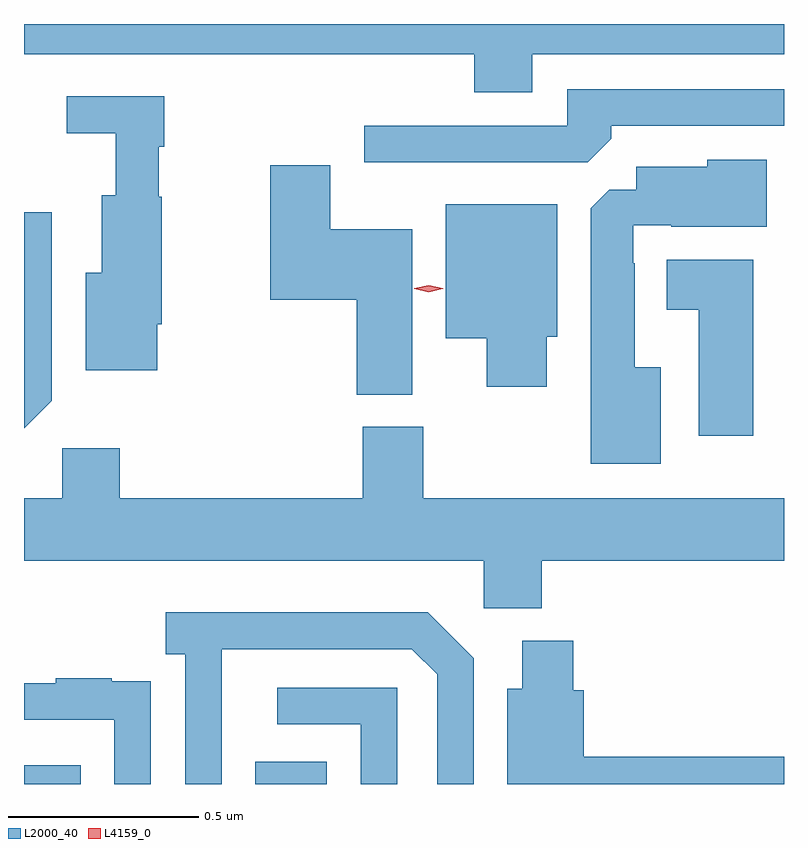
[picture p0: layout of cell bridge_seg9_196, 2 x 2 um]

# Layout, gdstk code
import gdstk
lib = gdstk.Library(unit=1e-6, precision=1e-09)
def R(c, l, rs):  # rectangles x0, y0, x1, y1
    for r in rs: c.add(gdstk.rectangle(r[:2], r[2:], *l))
def P(c, l, *ps):  # polygons
    for p in ps: c.add(gdstk.Polygon(p, *l))
L2000_40 = (2000, 40)
L4159_0 = (4159, 0)

bridge_seg9_196 = lib.new_cell('bridge_seg9_196')
R(bridge_seg9_196, L2000_40, [(174.464,1211.816,174.613,1211.866), (175.073,1211.816,175.261,1211.875)])
P(bridge_seg9_196, L2000_40, [(174.464,1213.736),(175.649,1213.736),(175.649,1213.637),(175.801,1213.637),(175.801,1213.736),(176.464,1213.736),(176.464,1213.816),(174.464,1213.816)],
  [(176.009,1213.514),(176.009,1213.548),(176.464,1213.548),(176.464,1213.644),(175.893,1213.644),(175.893,1213.548),(175.359,1213.548),(175.359,1213.452),(175.947,1213.452)],
  [(174.814,1213.026),(174.826,1213.026),(174.826,1213.362),(174.818,1213.362),(174.818,1213.493),(174.833,1213.493),(174.833,1213.626),(174.576,1213.626),(174.576,1213.529),(174.705,1213.529),(174.705,1213.366),(174.668,1213.366),(174.668,1213.162),(174.626,1213.162),(174.626,1212.905),(174.814,1212.905)],
  [(176.14,1212.913),(176.071,1212.913),(176.071,1213.187),(176.067,1213.187),(176.067,1213.287),(176.167,1213.287),(176.167,1213.283),(176.419,1213.283),(176.419,1213.459),(176.262,1213.459),(176.262,1213.441),(176.075,1213.441),(176.075,1213.38),(176.004,1213.38),(175.955,1213.331),(175.955,1212.659),(176.14,1212.659)],
  [(175.486,1213.276),(175.27,1213.276),(175.27,1213.444),(175.112,1213.444),(175.112,1213.091),(175.34,1213.091),(175.34,1212.841),(175.486,1212.841)],
  [(175.84,1212.993),(175.867,1212.993),(175.867,1213.342),(175.574,1213.342),(175.574,1212.989),(175.682,1212.989),(175.682,1212.861),(175.84,1212.861)],
  [(174.537,1212.825),(174.537,1213.321),(174.464,1213.321),(174.464,1212.752)],
  [(176.383,1213.195),(176.156,1213.195),(176.156,1213.064),(176.24,1213.064),(176.24,1212.732),(176.383,1212.732)],
  [(175.826,1212.404),(176.464,1212.404),(176.464,1212.568),(175.515,1212.568),(175.515,1212.756),(175.355,1212.756),(175.355,1212.568),(174.716,1212.568),(174.716,1212.7),(174.564,1212.7),(174.564,1212.568),(174.464,1212.568),(174.464,1212.404),(175.674,1212.404),(175.674,1212.278),(175.826,1212.278)],
  [(174.984,1211.971),(174.985,1211.971),(174.985,1212.171),(175.485,1212.171),(175.551,1212.105),(175.551,1211.816),(175.647,1211.816),(175.647,1212.147),(175.526,1212.268),(174.837,1212.268),(174.837,1212.158),(174.888,1212.158),(174.888,1211.816),(174.984,1211.816)],
  [(176.464,1211.888),(175.937,1211.888),(175.937,1212.063),(175.91,1212.063),(175.91,1212.193),(175.775,1212.193),(175.775,1212.067),(175.736,1212.067),(175.736,1211.816),(176.464,1211.816)],
  [(174.798,1211.978),(174.797,1211.978),(174.797,1212.087),(174.695,1212.087),(174.695,1212.094),(174.547,1212.094),(174.547,1212.081),(174.464,1212.081),(174.464,1211.985),(174.702,1211.985),(174.702,1211.816),(174.798,1211.816)],
  [(175.446,1212.069),(175.131,1212.069),(175.131,1211.973),(175.35,1211.973),(175.35,1211.816),(175.446,1211.816)])
P(bridge_seg9_196, L4159_0, [(175.529,1213.11),(175.491,1213.119),(175.491,1213.119),(175.491,1213.12),(175.529,1213.129),(175.566,1213.12),(175.567,1213.119),(175.566,1213.119)])

lib.write_gds('bridge_seg9_196.gds')
